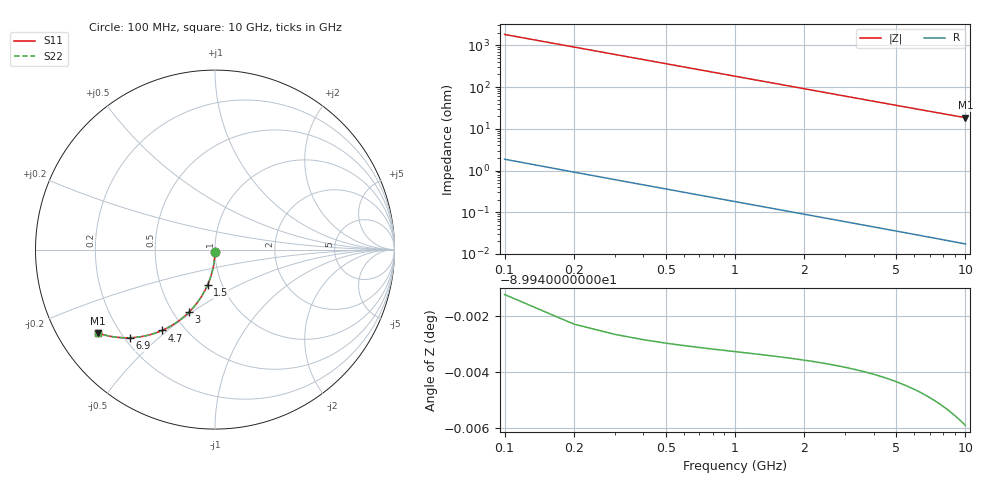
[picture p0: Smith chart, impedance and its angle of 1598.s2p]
# Hz S RI R 50.00
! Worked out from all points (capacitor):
!   100 points, 100 MHz to 10 GHz, reference 50 ohm
!   read as one part in shunt: C = 876 fF near 100 MHz
!   lowest |Z| = 18.4 ohm at 10 GHz (marker M1)
!   S11 on the Smith chart (normalised r, x): 100 MHz: 1.00, -0.03; 1.5 GHz: 0.86, -0.35; 3 GHz: 0.60, -0.49; 4.7 GHz: 0.38, -0.48; 6.9 GHz: 0.22, -0.41; 10 GHz: 0.12, -0.31
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1e8  -0.000168 -0.0136  0.9998 -0.0139  0.9998 -0.0139  -0.000168 -0.0136
2e8  -0.000749 -0.0273  0.9992 -0.0277  0.9992 -0.0277  -0.000749 -0.0273
3e8  -0.00171 -0.0409  0.9982 -0.0415  0.9982 -0.0415  -0.00171 -0.0409
4e8  -0.00304 -0.0544  0.9969 -0.0553  0.9969 -0.0553  -0.00304 -0.0544
5e8  -0.00474 -0.0679  0.9952 -0.069  0.9952 -0.069  -0.00474 -0.0679
6e8  -0.00681 -0.0813  0.9931 -0.0826  0.9931 -0.0826  -0.00681 -0.0813
7e8  -0.00924 -0.0946  0.9907 -0.0962  0.9907 -0.0962  -0.00924 -0.0946
9e8  -0.0152 -0.1209  0.9847 -0.1229  0.9847 -0.1229  -0.0152 -0.1209
1.2e9  -0.0266 -0.1593  0.9733 -0.1619  0.9733 -0.1619  -0.0266 -0.1593
1.5e9  -0.041 -0.1962  0.9589 -0.1995  0.9589 -0.1995  -0.041 -0.1962
1.8e9  -0.0579 -0.2312  0.942 -0.2351  0.942 -0.2351  -0.0579 -0.2312
2.4e9  -0.0984 -0.2948  0.9015 -0.3001  0.9015 -0.3001  -0.0984 -0.2948
3e9  -0.1457 -0.349  0.8543 -0.3556  0.8543 -0.3556  -0.1457 -0.349
3.4e9  -0.1796 -0.3796  0.8203 -0.3871  0.8203 -0.3871  -0.1796 -0.3796
4e9  -0.2324 -0.4175  0.7674 -0.4263  0.7674 -0.4263  -0.2324 -0.4175
4.7e9  -0.2947 -0.4503  0.7051 -0.4607  0.7051 -0.4607  -0.2947 -0.4503
5.1e9  -0.3298 -0.464  0.6701 -0.4753  0.6701 -0.4753  -0.3298 -0.464
5.9e9  -0.397 -0.4822  0.6028 -0.4953  0.6028 -0.4953  -0.397 -0.4822
6.7e9  -0.4591 -0.4904  0.5407 -0.5053  0.5407 -0.5053  -0.4591 -0.4904
6.9e9  -0.4738 -0.4911  0.526 -0.5065  0.526 -0.5065  -0.4738 -0.4911
8.4e9  -0.5717 -0.4849  0.428 -0.5037  0.428 -0.5037  -0.5717 -0.4849
1e10  -0.6544 -0.4637  0.3453 -0.4863  0.3453 -0.4863  -0.6544 -0.4637
